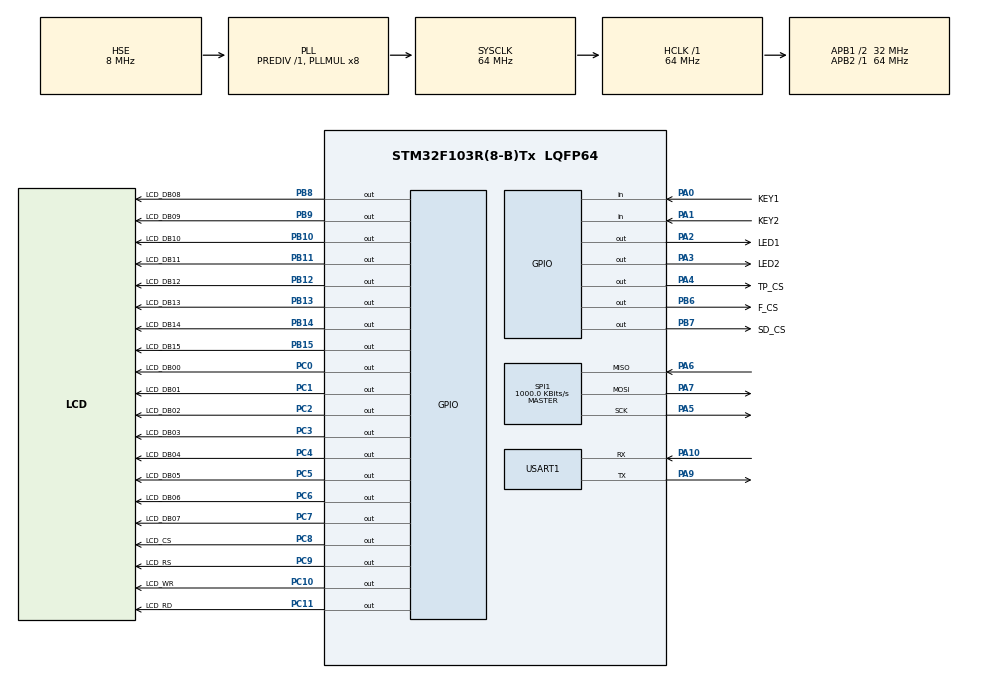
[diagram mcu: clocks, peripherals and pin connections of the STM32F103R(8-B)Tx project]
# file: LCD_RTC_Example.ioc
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Mcu.Family=STM32F1
Mcu.Name=STM32F103R(8-B)Tx
Mcu.Package=LQFP64
NVIC.PriorityGroup=NVIC_PRIORITYGROUP_4
NVIC.RTC_IRQn=true\:0\:0\:false\:false\:true
PA0-WKUP.GPIO_Label=KEY1
PA0-WKUP.GPIO_PuPd=GPIO_PULLUP
PA0-WKUP.Signal=GPIO_Input
PA1.GPIO_Label=KEY2
PA1.GPIO_PuPd=GPIO_PULLUP
PA1.Signal=GPIO_Input
PA10.Mode=Asynchronous
PA10.Signal=USART1_RX
PA13.Mode=Serial_Wire
PA13.Signal=SYS_JTMS-SWDIO
PA14.Mode=Serial_Wire
PA14.Signal=SYS_JTCK-SWCLK
PA2.GPIO_Label=LED1
PA2.Signal=GPIO_Output
PA3.GPIO_Label=LED2
PA3.Signal=GPIO_Output
PA4.GPIO_Label=TP_CS
PA4.GPIO_Speed=GPIO_SPEED_FREQ_HIGH
PA4.Signal=GPIO_Output
PA5.Mode=Full_Duplex_Master
PA5.Signal=SPI1_SCK
PA6.Mode=Full_Duplex_Master
PA6.Signal=SPI1_MISO
PA7.Mode=Full_Duplex_Master
PA7.Signal=SPI1_MOSI
PA9.Mode=Asynchronous
PA9.Signal=USART1_TX
PB10.GPIO_Label=LCD_DB10
PB10.GPIO_Speed=GPIO_SPEED_FREQ_HIGH
PB10.Signal=GPIO_Output
PB11.GPIO_Label=LCD_DB11
PB11.GPIO_Speed=GPIO_SPEED_FREQ_HIGH
PB11.Signal=GPIO_Output
PB12.GPIO_Label=LCD_DB12
PB12.GPIO_Speed=GPIO_SPEED_FREQ_HIGH
PB12.Signal=GPIO_Output
PB13.GPIO_Label=LCD_DB13
PB13.GPIO_Speed=GPIO_SPEED_FREQ_HIGH
PB13.Signal=GPIO_Output
PB14.GPIO_Label=LCD_DB14
PB14.GPIO_Speed=GPIO_SPEED_FREQ_HIGH
PB14.Signal=GPIO_Output
PB15.GPIO_Label=LCD_DB15
PB15.GPIO_Speed=GPIO_SPEED_FREQ_HIGH
PB15.Signal=GPIO_Output
PB6.GPIO_Label=F_CS
PB6.GPIO_Speed=GPIO_SPEED_FREQ_HIGH
PB6.Signal=GPIO_Output
PB7.GPIO_Label=SD_CS
PB7.GPIO_Speed=GPIO_SPEED_FREQ_HIGH
PB7.Signal=GPIO_Output
PB8.GPIO_Label=LCD_DB08
PB8.GPIO_Speed=GPIO_SPEED_FREQ_HIGH
PB8.Signal=GPIO_Output
PB9.GPIO_Label=LCD_DB09
PB9.GPIO_Speed=GPIO_SPEED_FREQ_HIGH
PB9.Signal=GPIO_Output
PC0.GPIO_Label=LCD_DB00
PC0.GPIO_Speed=GPIO_SPEED_FREQ_HIGH
PC0.Signal=GPIO_Output
PC1.GPIO_Label=LCD_DB01
PC1.GPIO_Speed=GPIO_SPEED_FREQ_HIGH
PC1.Signal=GPIO_Output
PC10.GPIO_Label=LCD_WR
PC10.GPIO_Speed=GPIO_SPEED_FREQ_HIGH
PC10.Signal=GPIO_Output
PC11.GPIO_Label=LCD_RD
PC11.GPIO_Speed=GPIO_SPEED_FREQ_HIGH
PC11.Signal=GPIO_Output
PC14-OSC32_IN.Mode=LSE-External-Oscillator
PC14-OSC32_IN.Signal=RCC_OSC32_IN
PC15-OSC32_OUT.Mode=LSE-External-Oscillator
PC15-OSC32_OUT.Signal=RCC_OSC32_OUT
PC2.GPIO_Label=LCD_DB02
PC2.GPIO_Speed=GPIO_SPEED_FREQ_HIGH
PC2.Signal=GPIO_Output
PC3.GPIO_Label=LCD_DB03
PC3.GPIO_Speed=GPIO_SPEED_FREQ_HIGH
PC3.Signal=GPIO_Output
PC4.GPIO_Label=LCD_DB04
PC4.GPIO_Speed=GPIO_SPEED_FREQ_HIGH
PC4.Signal=GPIO_Output
PC5.GPIO_Label=LCD_DB05
PC5.GPIO_Speed=GPIO_SPEED_FREQ_HIGH
PC5.Signal=GPIO_Output
PC6.GPIO_Label=LCD_DB06
PC6.GPIO_Speed=GPIO_SPEED_FREQ_HIGH
PC6.Signal=GPIO_Output
PC7.GPIO_Label=LCD_DB07
PC7.GPIO_Speed=GPIO_SPEED_FREQ_HIGH
PC7.Signal=GPIO_Output
PC8.GPIO_Label=LCD_CS
PC8.GPIO_Speed=GPIO_SPEED_FREQ_HIGH
PC8.Signal=GPIO_Output
PC9.GPIO_Label=LCD_RS
PC9.GPIO_Speed=GPIO_SPEED_FREQ_HIGH
PC9.Signal=GPIO_Output
PD0-OSC_IN.Mode=HSE-External-Oscillator
PD0-OSC_IN.Signal=RCC_OSC_IN
PD1-OSC_OUT.Mode=HSE-External-Oscillator
PD1-OSC_OUT.Signal=RCC_OSC_OUT
ProjectManager.HeapSize=0x200
ProjectManager.StackSize=0x400
ProjectManager.TargetToolchain=MDK-ARM V4
RCC.AHBFreq_Value=64000000
RCC.APB1CLKDivider=RCC_HCLK_DIV2
RCC.APB1Freq_Value=32000000
RCC.APB1TimFreq_Value=64000000
RCC.APB2Freq_Value=64000000
RCC.APB2TimFreq_Value=64000000
RCC.HCLKFreq_Value=64000000
RCC.HSIState=RCC_HSI_ON
RCC.PLLMUL=RCC_PLL_MUL8
RCC.PLLSourceVirtual=RCC_PLLSOURCE_HSE
RCC.RTCClockSelection=RCC_RTCCLKSOURCE_LSE
RCC.SYSCLKFreq_VALUE=64000000
RCC.SYSCLKSource=RCC_SYSCLKSOURCE_PLLCLK
RCC.USBFreq_Value=64000000
SPI1.BaudRatePrescaler=SPI_BAUDRATEPRESCALER_64
SPI1.CalculateBaudRate=1000.0 KBits/s
SPI1.Mode=SPI_MODE_MASTER
VP_RTC_VS_RTC_Activate.Mode=RTC_Enabled
board=LCD_RTC_Example

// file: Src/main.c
/**
  ******************************************************************************
  * File Name          : main.c
  * Description        : Main program body
  ******************************************************************************
  *
  * COPYRIGHT(c) 2016 STMicroelectronics
  *
  * Redistribution and use in source and binary forms, with or without modification,
  * are permitted provided that the following conditions are met:
  *   1. Redistributions of source code must retain the above copyright notice,
  *      this list of conditions and the following disclaimer.
  *   2. Redistributions in binary form must reproduce the above copyright notice,
  *      this list of conditions and the following disclaimer in the documentation
  *      and/or other materials provided with the distribution.
  *   3. Neither the name of STMicroelectronics nor the names of its contributors
  *      may be used to endorse or promote products derived from this software
  *      without specific prior written permission.
  *
  * THIS SOFTWARE IS PROVIDED BY THE COPYRIGHT HOLDERS AND CONTRIBUTORS "AS IS"
  * AND ANY EXPRESS OR IMPLIED WARRANTIES, INCLUDING, BUT NOT LIMITED TO, THE
  * IMPLIED WARRANTIES OF MERCHANTABILITY AND FITNESS FOR A PARTICULAR PURPOSE ARE
  * DISCLAIMED. IN NO EVENT SHALL THE COPYRIGHT HOLDER OR CONTRIBUTORS BE LIABLE
  * FOR ANY DIRECT, INDIRECT, INCIDENTAL, SPECIAL, EXEMPLARY, OR CONSEQUENTIAL
  * DAMAGES (INCLUDING, BUT NOT LIMITED TO, PROCUREMENT OF SUBSTITUTE GOODS OR
  * SERVICES; LOSS OF USE, DATA, OR PROFITS; OR BUSINESS INTERRUPTION) HOWEVER
  * CAUSED AND ON ANY THEORY OF LIABILITY, WHETHER IN CONTRACT, STRICT LIABILITY,
  * OR TORT (INCLUDING NEGLIGENCE OR OTHERWISE) ARISING IN ANY WAY OUT OF THE USE
  * OF THIS SOFTWARE, EVEN IF ADVISED OF THE POSSIBILITY OF SUCH DAMAGE.
  *
  ******************************************************************************
  */
#include "main.h"
#include "stm32f1xx_hal.h"
#include "rtc.h"
#include "spi.h"
#include "usart.h"
#include "gpio.h"

/* USER CODE BEGIN Includes */
#include "ministm32_v3.h"
#include "ministm32_v3_lcd.h"
#include "logo.h"
#include "hardware.h"
/* USER CODE END Includes */

/* USER CODE BEGIN PV */
/* Private variables ---------------------------------------------------------*/
uint8_t DemoIndex = 0;
__IO uint8_t NbLoop = 1;

typedef struct
{
  void   (*DemoFunc)(void);
  uint8_t DemoName[50];
  uint32_t DemoIndex;
} DemoTypeDef;

#define COUNT_OF_EXAMPLE(x)    (sizeof(x)/sizeof(DemoTypeDef))

void LCD_Demo(void);
void Log_Demo(void);

DemoTypeDef  Examples[]=
{
  {LCD_Demo, "LCD", 0},
  //{SD_demo, "SD", 0},
  {Log_Demo, "LCD LOG", 0}
};
/* USER CODE END PV */

void SystemClock_Config(void);
void Error_Handler(void);

/* USER CODE BEGIN PFP */
/* Private function prototypes -----------------------------------------------*/

/* USER CODE END PFP */

/* USER CODE BEGIN 0 */
uint8_t CheckForUserInput(void)
{
  if(HAL_GPIO_ReadPin(KEY1_GPIO_PORT, KEY1_PIN) == GPIO_PIN_RESET)
  {
    while (HAL_GPIO_ReadPin(KEY1_GPIO_PORT, KEY1_PIN) == GPIO_PIN_RESET);
    return 1 ;
  }
  return 0;
}

static void Display_DemoDescription(void)
{
  char desc[50];

  LCD_SetFont(&LCD_DEFAULT_FONT);

  /* Clear the LCD */
  LCD_SetBackColor(LCD_COLOR_WHITE);
  LCD_Clear(LCD_COLOR_WHITE);

  /* Set the LCD Text Color */
  LCD_SetTextColor(LCD_COLOR_DARKBLUE);

  /* Display LCD messages */
  LCD_DisplayStringAt(0, 10, (uint8_t *)"STM32F103xG BSP", CENTER_MODE);
  LCD_DisplayStringAt(0, 35, (uint8_t *)"Drivers examples", CENTER_MODE);

  /* Draw Bitmap */
  LCD_DrawBitmap((LCD_GetXSize() - 80)/2, 65, (uint8_t *)stlogo);

  LCD_SetFont(&Font12);
  LCD_DisplayStringAt(0, LCD_GetYSize()- 20, (uint8_t *)"Copyright (c) STMicroelectronics 2014", CENTER_MODE);

  LCD_SetFont(&Font16);
  LCD_SetTextColor(LCD_COLOR_BLUE);
  LCD_FillRect(0, LCD_GetYSize()/2 + 15, LCD_GetXSize(), 60);
  LCD_SetTextColor(LCD_COLOR_WHITE);
  LCD_SetBackColor(LCD_COLOR_BLUE);
  LCD_DisplayStringAt(0, LCD_GetYSize() / 2 + 15, (uint8_t *)"Press Key push-button", CENTER_MODE);
  LCD_DisplayStringAt(0, LCD_GetYSize()/2 + 30, (uint8_t *)"to start :", CENTER_MODE);
  sprintf(desc,"%s example", Examples[DemoIndex].DemoName);
  LCD_DisplayStringAt(0, LCD_GetYSize()/2 + 45, (uint8_t *)desc, CENTER_MODE);
}
/* USER CODE END 0 */

int main(void)
{

  /* MCU Configuration----------------------------------------------------------*/

  /* Reset of all peripherals, Initializes the Flash interface and the Systick. */
  HAL_Init();

  /* Configure the system clock */
  SystemClock_Config();

  /* Initialize all configured peripherals */
  MX_GPIO_Init();
  MX_RTC_Init();
  MX_SPI1_Init();
  MX_USART1_UART_Init();

  /* USER CODE BEGIN 2 */
  LCD_Init();
  Display_DemoDescription();

  /*LCD_Clear(LCD_COLOR_BLUE);
  LCD_SetBackColor(LCD_COLOR_BLUE);
  //LCD_DrawRGBImage((LCD_GetXSize() - 99) / 2, 100, 99, 97, (uint8_t*)logoOpenMCU);
  LCD_DrawBitmap((LCD_GetXSize() - 80)/2, 65, (uint8_t *)stlogo);

  LCD_SetTextColor(LCD_COLOR_RED);
  LCD_DrawHLine(20, 20, LCD_GetXSize() - 40);
  LCD_DrawLine(LCD_GetXSize() - 20, 20, LCD_GetXSize() - 30, 15);
  LCD_DrawLine(LCD_GetXSize() - 20, 20, LCD_GetXSize() - 30, 25);

  LCD_DisplayChar(50, 50, 'R');

  LCD_SetTextColor(LCD_COLOR_YELLOW);
  LCD_DrawVLine(20, 20, LCD_GetYSize() - 40);
  LCD_DrawLine(20, LCD_GetYSize() - 20, 15, LCD_GetYSize() - 30);
  LCD_DrawLine(20, LCD_GetYSize() - 20, 25, LCD_GetYSize() - 30);*/

  /* USER CODE END 2 */

  /* Infinite loop */
  while (1)
  {

  /* USER CODE BEGIN 3 */
    HAL_GPIO_TogglePin(LED1_GPIO_Port, LED1_Pin);
    HAL_Delay(500);

    if(HAL_GPIO_ReadPin(KEY1_GPIO_PORT, KEY1_PIN) == GPIO_PIN_RESET)
    {
      while (HAL_GPIO_ReadPin(KEY1_GPIO_PORT, KEY1_PIN) == GPIO_PIN_RESET);

      Examples[DemoIndex++].DemoFunc();

      if (DemoIndex >= COUNT_OF_EXAMPLE(Examples))
      {
        NbLoop++;
        DemoIndex = 0;
      }
      Display_DemoDescription();
    }
  }
  /* USER CODE END 3 */
}

/** System Clock Configuration
*/
void SystemClock_Config(void)
{

  RCC_OscInitTypeDef RCC_OscInitStruct;
  RCC_ClkInitTypeDef RCC_ClkInitStruct;
  RCC_PeriphCLKInitTypeDef PeriphClkInit;

    /**Initializes the CPU, AHB and APB busses clocks
    */
  RCC_OscInitStruct.OscillatorType = RCC_OSCILLATORTYPE_HSE|RCC_OSCILLATORTYPE_LSE;
  RCC_OscInitStruct.HSEState = RCC_HSE_ON;
  RCC_OscInitStruct.HSEPredivValue = RCC_HSE_PREDIV_DIV1;
  RCC_OscInitStruct.LSEState = RCC_LSE_ON;
  RCC_OscInitStruct.HSIState = RCC_HSI_ON;
  RCC_OscInitStruct.PLL.PLLState = RCC_PLL_ON;
  RCC_OscInitStruct.PLL.PLLSource = RCC_PLLSOURCE_HSE;
  RCC_OscInitStruct.PLL.PLLMUL = RCC_PLL_MUL8;
  if (HAL_RCC_OscConfig(&RCC_OscInitStruct) != HAL_OK)
  {
    Error_Handler();
  }

    /**Initializes the CPU, AHB and APB busses clocks
    */
  RCC_ClkInitStruct.ClockType = RCC_CLOCKTYPE_HCLK|RCC_CLOCKTYPE_SYSCLK
                              |RCC_CLOCKTYPE_PCLK1|RCC_CLOCKTYPE_PCLK2;
  RCC_ClkInitStruct.SYSCLKSource = RCC_SYSCLKSOURCE_PLLCLK;
  RCC_ClkInitStruct.AHBCLKDivider = RCC_SYSCLK_DIV1;
  RCC_ClkInitStruct.APB1CLKDivider = RCC_HCLK_DIV2;
  RCC_ClkInitStruct.APB2CLKDivider = RCC_HCLK_DIV1;

  if (HAL_RCC_ClockConfig(&RCC_ClkInitStruct, FLASH_LATENCY_2) != HAL_OK)
  {
    Error_Handler();
  }

  PeriphClkInit.PeriphClockSelection = RCC_PERIPHCLK_RTC;
  PeriphClkInit.RTCClockSelection = RCC_RTCCLKSOURCE_LSE;
  if (HAL_RCCEx_PeriphCLKConfig(&PeriphClkInit) != HAL_OK)
  {
    Error_Handler();
  }

    /**Configure the Systick interrupt time
    */
  HAL_SYSTICK_Config(HAL_RCC_GetHCLKFreq()/1000);

    /**Configure the Systick
    */
  HAL_SYSTICK_CLKSourceConfig(SYSTICK_CLKSOURCE_HCLK);

  /* SysTick_IRQn interrupt configuration */
  HAL_NVIC_SetPriority(SysTick_IRQn, 0, 0);
}

void Error_Handler(void)
{
  while(1)
  {
  }
}

/************************ (C) COPYRIGHT STMicroelectronics *****END OF FILE****/
